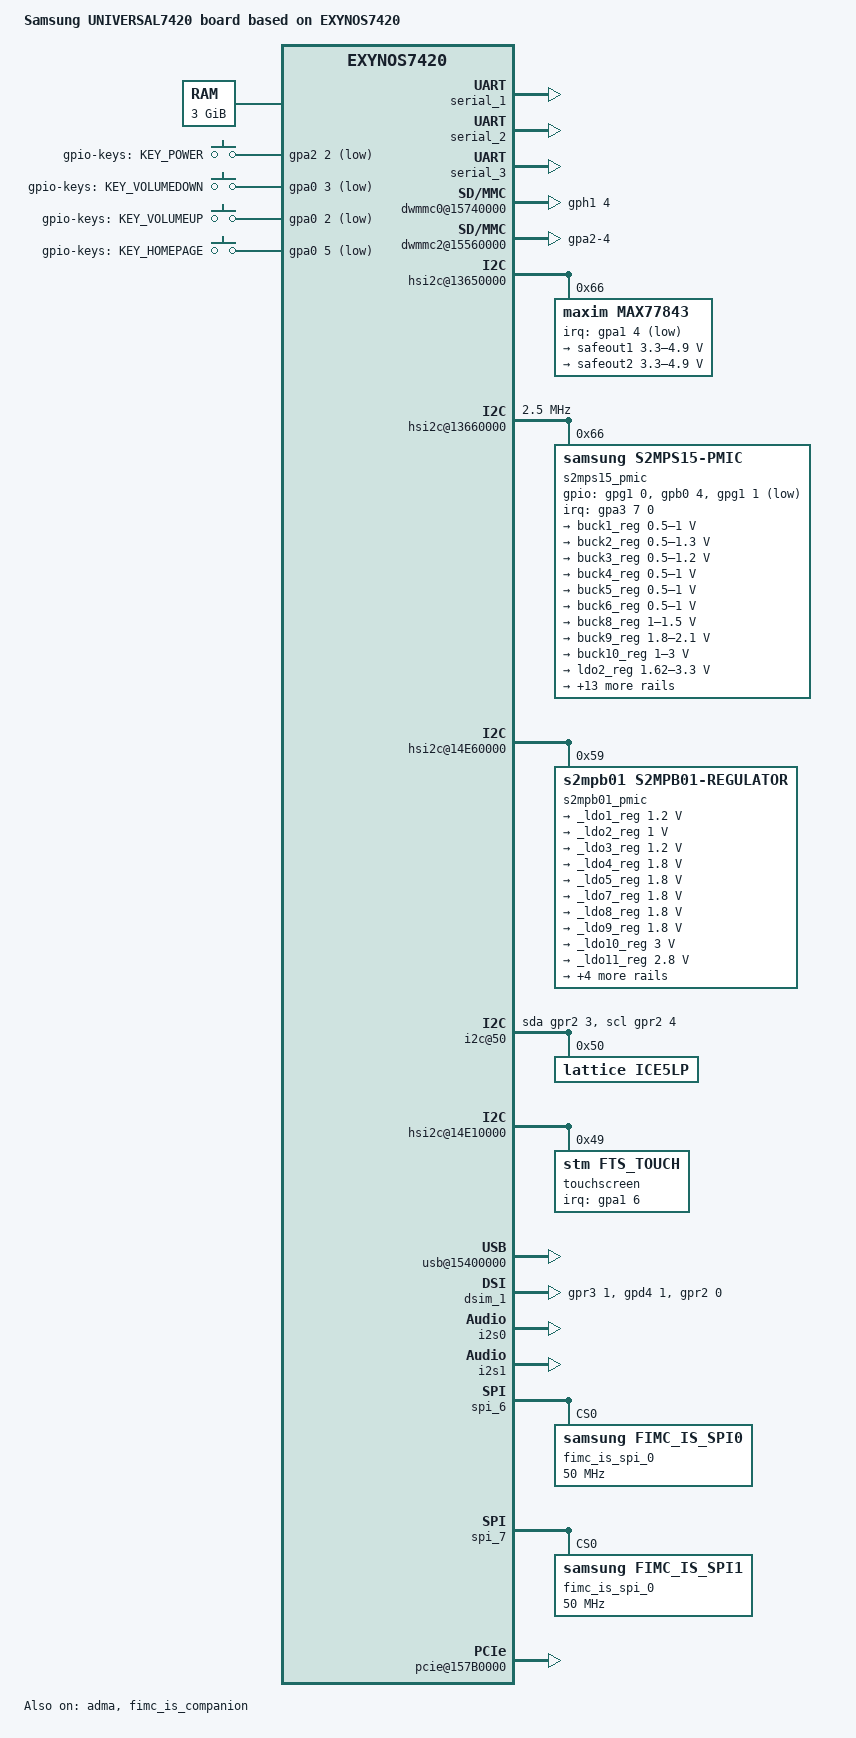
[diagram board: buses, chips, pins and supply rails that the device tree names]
/*
 * SAMSUNG UNIVERSAL7420 board device tree source
 *
 * Copyright (c) 2014 Samsung Electronics Co., Ltd.
 *		http://www.samsung.com
 *
 * This program is free software; you can redistribute it and/or modify
 * it under the terms of the GNU General Public License version 2 as
 * published by the Free Software Foundation.
*/

#include "exynos7420.dtsi"
/ {
	model = "Samsung UNIVERSAL7420 board based on EXYNOS7420";
	compatible = "samsung,exynos7420", "samsung,UNIVERSAL7420";

	memory@40000000 {
		device_type = "memory";
		reg = <0x40000000 0xC0000000>;
	};

	reserved-memory {
		#address-cells = <1>;
		#size-cells = <1>;
		ranges;

		common {
			compatible = "exynos5433-ion,common";
			size = <0x600000>;
			alignment = <0x1000>;
		};

		video {
			compatible = "exynos5433-ion,video";
			size = <0xA800000>;
			alignment = <0x10000>;
		};

		mfc_fw {
			compatible = "exynos5433-ion,mfc_fw";
			size = <0x100000>;
			alignment = <0x10000>;
		};

		mfc_nfw {
			compatible = "exynos5433-ion,mfc_nfw";
			size = <0x100000>;
			alignment = <0x1000>;
		};

		secdma {
			compatible = "exynos5433-ion,secdma";
			size = <0x20000>;
			alignment = <0x10000>;
		};

		mipi_lli_reserved: mipi_lli {
			compatible = "mipi-lli-shmem";
			#memory-region-cells = <0>;
			size = <0x400000>;
			alignment = <0x400000>;
		};
	};

	aliases {
		spi0 = &spi_0;
		spi1 = &spi_1;
		spi2 = &spi_2;
		spi3 = &spi_3;
		spi4 = &spi_4;
		spi5 = &spi_5;
		spi6 = &spi_6;
		spi7 = &spi_7;
		dsim1 = &dsim_1;
	};

	chosen {
		bootargs = "console=ttySAC1,115200n8 ess_setup=0x46000000";
		linux,initrd-start = <0x42000000>;
		linux,initrd-end = <0x420FFFFF>;
	};

	fixed-rate-clocks {
		oscclk {
			compatible = "samsung,exynos7420-oscclk";
			clock-frequency = <24000000>;
		};
	};

	ion {
		compatible = "samsung,exynos5430-ion";

		ion_noncontig_heap {
			id-type = <0 0>;
		};
	};

	serial_1: uart@14C20000 {
		/* Enable UART channel for debug port */
		status = "okay";
	};

	serial_2: uart@14C30000 {
		status = "okay";
	};

	serial_3: uart@14C40000 {
		status = "okay";
	};

	dwmmc0@15740000 {
		status = "okay";
		num-slots = <1>;
		broken-cd;
		bypass-smu;
		fixed_volt;
		biu-clock-gate;
		clock-gate;
		enable-cclk-on-suspend;
		only_once_tune;
		use-fine-tuning;
		bypass-for-allpass;
		supports-highspeed;
		supports-hs200-mode;
		supports-ddr200-mode;
		enable-cache-control;
		use-enable-shift;
		qos_int_level = <468000>;
		desc-size = <3>;
		fifo-depth = <0x40>;
		card-detect-delay = <200>;
		samsung,dw-mshc-ciu-div = <3>;
		samsung,dw-mshc-sdr-timing = <3 0 2 0>;
		samsung,dw-mshc-ddr-timing = <3 0 3 2>;
		samsung,dw-mshc-hs200-timing = <3 0 3 1>;
		samsung,dw-mshc-ddr200-timing = <1 0 2 2>;
		samsung,dw-mshc-ddr200-delay-line = <118>;
		clk_pin = "gpr0-0";
		clk_addr = "15690000.pinctrl";
		clk_val = <0x4>;
		clk_str_num = <6>;
		num-ref-clks = <8>;
		ciu_clkin = <25 50 50 100 200 100 200 400>;
		pinctrl-names = "default";
		pinctrl-0 = <&sd0_clk &sd0_cmd &sd0_rdqs &sd0_bus1 &sd0_bus4 &sd0_bus8>;
		gpios = <&gph1 4 0>;
		slot@0 {
			reg = <0>;
			bus-width = <8>;
		};
	};

	dwmmc2@15560000 {
		status = "okay";
		num-slots = <1>;
		supports-highspeed;
		enable-cclk-on-suspend;
		cd-type = <0>;
		bypass-smu;
		biu-clock-gate;
		clock-gate;
		use-fine-tuning;
		fifo-depth = <0x40>;
		card-detect-delay = <200>;
		qos_int_level = <468000>;
		desc-size = <3>;
		bypass-for-allpass;
		fix-fmp-size-mismatch;
		not-allow-single-dma;
		samsung,dw-mshc-ciu-div = <3>;
		samsung,dw-mshc-sdr-timing = <3 0 3 2>;
		samsung,dw-mshc-ddr-timing = <3 0 2 1>;
		clk_pin = "gpr4-0";
		clk_addr = "10E60000.pinctrl";
		clk_val = <0x2>;
		clk_str_num = <6>;
		num-ref-clks = <8>;
		ciu_clkin = <25 50 50 100 200 100 200 400>;
		pinctrl-names = "default";
		pinctrl-0 = <&sd2_clk &sd2_cmd &sd2_cd &sd2_bus1 &sd2_bus4 &dwmmc2_cd_ext_irq>;
		vdd_vmmc-supply = <&ldo17_reg>;
		vqmmc-supply = <&ldo2_reg>;
		gpio-controller;
		#gpio-cells = <2>;
		cd-gpio = <&gpa2 4 0xf>;

		slot@0 {
			reg = <0>;
			bus-width = <4>;
			disable-wp;
		};
	};

	pinctrl@10580000 {
		dwmmc2_cd_ext_irq: dwmmc2_cd_ext_irq {
			samsung,pins = "gpa2-4";
			samsung,pin-function = <0xf>;
			samsung,pin-pud = <3>;
			samsung,pin-drv = <0>;
		};

		pmic_irq: pmic-irq {
			samsung,pins = "gpa3-7";
			samsung,pin-pud = <3>;
			samsung,pin-drv = <3>;
		};

		chg_irq: chg-irq {
			 samsung,pins = "gpa1-4";
			 samsung,pin-function = <0>;
			 samsung,pin-pud = <3>;
			 samsung,pin-drv = <3>;
		};

	};

	pinctrl@14870000 {
		/* Warm reset information from AP */
		pm_wrsti: pm-wrsti {
			samsung,pins = "gpf3-0";
			samsung,pin-con-pdn = <3>;
		};
	};

	hsi2c@13650000{
		max77843@66 {
			compatible = "maxim,max77843";
			reg = <0x66>;
			pinctrl-names = "default";
			pinctrl-0 = <&chg_irq &vibetonz_pwm>;
			max77843,irq-gpio = <&gpa1 4 1>;
			max77843,wakeup;

			regulators {
				safeout1: ESAFEOUT1 {
					regulator-compatible = "safeout1";
					regulator-name = "safeout1_range";
					regulator-min-microvolt = <3300000>;
					regulator-max-microvolt = <4900000>;
					regulator-boot-on;
				};

				safeout2: ESAFEOUT2 {
					regulator-compatible = "safeout2";
					regulator-name = "safeout2_range";
					regulator-min-microvolt = <3300000>;
					regulator-max-microvolt = <4900000>;
				};
			};
		};
	};

	haptic {
		status = "okay";
		haptic,max_timeout = <10000>;
		haptic,duty = <30500>;
		haptic,period = <33670>;
		haptic,reg2 = <0x82>;
		haptic,pwm_id = <1>;
		haptic,regulator_name = "VCC_3.0V_MOTOR_AP";
	};

	rgb {
		rgb-name = "led_w", "led_r", "led_g", "led_b";
	};

	hsi2c@13650000{
		status = "okay";

		max77843@66 {
			status = "okay";
		};
	};

	muic {
		status = "disabled";
		muic,support-list = "MHL","OTG","Jig USB On","Jig UART Off",
			"Jig UART Off + VB","Jig UART On",
			"TA","USB","CDP","Unofficial",
			"Fuelgauge test";
	};

	hsi2c@13660000 {
		status = "okay";
		samsung,hs-mode;
		clock-frequency = <2500000>;
		samsung,use-apm;

		s2mps15_pmic@66 {
			compatible = "samsung,s2mps15-pmic";
			reg = <0x66>;
			interrupts = <7 0 0>;
			interrupt-parent = <&gpa3>;
			pinctrl-names = "default";
			pinctrl-0 = <&pmic_irq &pm_wrsti>;
			gpios = <&gpg1 0 0>, <&gpb0 4 0x2>, <&gpg1 1 0x1>;
			smpl_warn_en = <0>; /* 1 : enable , 0 : disable*/
			g3d_en = <1>; /* 1 : enable , 0 : disable */
			dvs_en = <0>; /* 1 : enable , 0 : disable */
			buck6en_pin = "gpb0-4";
			buck6en_addr = "13470000.pinctrl";
			/* RTC: wtsr/smpl */
			wtsr_en = <1>; /* enable */
			smpl_en = <1>; /* enable */
			wtsr_timer_val = <3>;	/* 1000ms */
			smpl_timer_val = <4>;	/* 500ms */
			check_jigon = <0>; /* do not check jigon */
			/* RTC: If it's first boot, reset rtc to 1/1/2014 12:00:00(Wed) */
			init_time,sec = <0>;
			init_time,min = <0>;
			init_time,hour = <12>;
			init_time,mday = <1>;
			init_time,mon = <0>;
			init_time,year = <114>;
			init_time,wday = <3>;

			regulators {
				buck1_reg: BUCK1 {
					regulator-name = "vdd_mif";
					regulator-min-microvolt = <500000>;
					regulator-max-microvolt = <1000000>;
					regulator-always-on;
					regulator-boot-on;
					regulator-ramp-delay = <12000>;
					regulator-initial-mode = <1>;
				};

				buck2_reg: BUCK2 {
					regulator-name = "vdd_atlas";
					regulator-min-microvolt = <500000>;
					regulator-max-microvolt = <1300000>;
					regulator-always-on;
					regulator-boot-on;
					regulator-ramp-delay = <12000>;
					regulator-initial-mode = <1>;
				};

				buck3_reg: BUCK3 {
					regulator-name = "vdd_apollo";
					regulator-min-microvolt = <500000>;
					regulator-max-microvolt = <1200000>;
					regulator-always-on;
					regulator-boot-on;
					regulator-ramp-delay = <12000>;
					regulator-initial-mode = <1>;
				};

				buck4_reg: BUCK4 {
					regulator-name = "vdd_int";
					regulator-min-microvolt = <500000>;
					regulator-max-microvolt = <1000000>;
					regulator-always-on;
					regulator-boot-on;
					regulator-ramp-delay = <12000>;
					regulator-initial-mode = <1>;
				};

				buck5_reg: BUCK5 {
					regulator-name = "vdd_disp_cam0";
					regulator-min-microvolt = <500000>;
					regulator-max-microvolt = <1000000>;
					regulator-always-on;
					regulator-boot-on;
					regulator-ramp-delay = <12000>;
					regulator-initial-mode = <1>;
				};

				buck6_reg: BUCK6 {
					regulator-name = "vdd_g3d";
					regulator-min-microvolt = <500000>;
					regulator-max-microvolt = <1000000>;
					regulator-always-on;
					regulator-boot-on;
					regulator-ramp-delay = <12000>;
					regulator-initial-mode = <1>;
				};

				buck8_reg: BUCK8 {
					regulator-name = "vdd_lldo";
					regulator-min-microvolt = <1000000>;
					regulator-max-microvolt = <1500000>;
					regulator-always-on;
					regulator-ramp-delay = <12000>;
					regulator-initial-mode = <3>;
				};

				buck9_reg: BUCK9 {
					regulator-name = "vdd_mldo";
					regulator-min-microvolt = <1800000>;
					regulator-max-microvolt = <2100000>;
					regulator-always-on;
					regulator-ramp-delay = <12000>;
					regulator-initial-mode = <3>;
				};

				buck10_reg: BUCK10 {
					regulator-name = "vdd_lldo2";
					regulator-min-microvolt = <1000000>;
					regulator-max-microvolt = <3000000>;
					regulator-always-on;
					regulator-ramp-delay = <12000>;
					regulator-initial-mode = <1>;
				};

				ldo2_reg: LDO2 {
					regulator-name = "vqmmc";
					regulator-min-microvolt = <1620000>;
					regulator-max-microvolt = <3300000>;
					regulator-ramp-delay = <12000>;
					regulator-initial-mode = <1>;
					regulator-boot-on;
				};

				ldo15_reg: LDO15 {
					regulator-name = "vdd_ldo15";
					regulator-min-microvolt = <1800000>;
					regulator-max-microvolt = <1800000>;
					regulator-always-on;
					regulator-boot-on;
					regulator-initial-mode = <3>;
				};

				ldo16_reg: LDO16 {
					regulator-name = "vdd_ldo16";
					regulator-min-microvolt = <1800000>;
					regulator-max-microvolt = <1800000>;
					regulator-boot-on;
					regulator-initial-mode = <1>;
				};

				ldo17_reg: LDO17 {
					regulator-name = "vmmc";
					regulator-min-microvolt = <2800000>;
					regulator-max-microvolt = <2800000>;
				};

				ldo18_reg: LDO18 {
					regulator-name = "vdd_ldo18";
					regulator-min-microvolt = <1800000>;
					regulator-max-microvolt = <1800000>;
					regulator-always-on;
					regulator-boot-on;
					regulator-initial-mode = <1>;
				};

				ldo19_reg: LDO19 {
					regulator-name = "tsp_avdd";
					regulator-min-microvolt = <3300000>;
					regulator-max-microvolt = <3300000>;
				};

				ldo20_reg: LDO20 {
					regulator-name = "vdd_ldo20";
					regulator-min-microvolt = <1800000>;
					regulator-max-microvolt = <1800000>;
				};

				ldo21_reg: LDO21 {
					regulator-name = "key_led";
					regulator-min-microvolt = <3300000>;
					regulator-max-microvolt = <3300000>;
				};

				ldo22_reg: LDO22 {
					regulator-name = "VSIL_1.0V";
					regulator-min-microvolt = <1000000>;
					regulator-max-microvolt = <1000000>;
				};

				ldo23_reg: LDO23 {
					regulator-name = "vdd_ldo23";
					regulator-min-microvolt = <1800000>;
					regulator-max-microvolt = <1800000>;
					regulator-always-on;
					regulator-boot-on;
					regulator-initial-mode = <1>;		 
				};
				ldo24_reg: LDO24 {
					regulator-name = "tsp_avdd_sub";
					regulator-min-microvolt = <3300000>;
					regulator-max-microvolt = <3300000>;
				};

				ldo25_reg: LDO25 {
					regulator-name = "VCC_3.0V_MOTOR_AP";
					regulator-min-microvolt = <3000000>;
					regulator-max-microvolt = <3000000>;
				};

				ldo26_reg: LDO26 {
					regulator-name = "vdd_ldo26";
					regulator-min-microvolt = <1050000>;
					regulator-max-microvolt = <1050000>;
				};

				ldo27_reg: LDO27 {
					regulator-name = "tsp_io";
					regulator-min-microvolt = <1800000>;
					regulator-max-microvolt = <1800000>;
				};
			};
		};
	};

	hsi2c@14E60000 {
		status = "okay";

		s2mpb01_pmic@59 {
			compatible = "s2mpb01,s2mpb01-regulator";
			reg = <0x59>;

			regulators {
				_ldo1_reg: LDO1 {
					regulator-name = "VDDD_1.2V_CAM";
					regulator-min-microvolt = <1200000>;
					regulator-max-microvolt = <1200000>;
				};

				_ldo2_reg: LDO2 {
					regulator-name = "VDDD_MIPI_1.0V_COMP";
					regulator-min-microvolt = <1000000>;
					regulator-max-microvolt = <1000000>;
				};

				_ldo3_reg: LDO3 {
					regulator-name = "VDDD_1.2V_VT";
					regulator-min-microvolt = <1200000>;
					regulator-max-microvolt = <1200000>;
				};

				_ldo4_reg: LDO4 {
					regulator-name = "tsp_io_en";
					regulator-min-microvolt = <1800000>;
					regulator-max-microvolt = <1800000>;
				};

				_ldo5_reg: LDO5 {
					regulator-name = "VDDIO_1.8V_VT";
					regulator-min-microvolt = <1800000>;
					regulator-max-microvolt = <1800000>;
				};

				_ldo7_reg: LDO7 {
					regulator-name = "tsp_io_en_sub";
					regulator-min-microvolt = <1800000>;
					regulator-max-microvolt = <1800000>;
				};

				_ldo8_reg: LDO8 {
					regulator-name = "VDDIO_1.8V_CAM";
					regulator-min-microvolt = <1800000>;
					regulator-max-microvolt = <1800000>;
				};

				_ldo9_reg: LDO9 {
					regulator-name = "VDDA_1.8V_COMP";
					regulator-min-microvolt = <1800000>;
					regulator-max-microvolt = <1800000>;
				};

				_ldo10_reg: LDO10 {
					regulator-name = "VDDA_3.0V_VT";
					regulator-min-microvolt = <3000000>;
					regulator-max-microvolt = <3000000>;
				};

				_ldo11_reg: LDO11 {
					regulator-name = "VDDA_2.8V_CAM";
					regulator-min-microvolt = <2800000>;
					regulator-max-microvolt = <2800000>;
				};

				_ldo12_reg: LDO12 {
					regulator-name = "GES_LED_3.3V";
					regulator-min-microvolt = <3300000>;
					regulator-max-microvolt = <3300000>;
				};

				_ldo13_reg: LDO13 {
					regulator-name = "OIS_VM_2.8V";
					regulator-min-microvolt = <2800000>;
					regulator-max-microvolt = <2800000>;
				};

				_ldo14_reg: LDO14 {
					regulator-name = "VDDAF_2.8V_CAM";
					regulator-min-microvolt = <2800000>;
					regulator-max-microvolt = <2800000>;
				};

				_ldo15_reg: LDO15 {
					regulator-name = "OIS_VDD_2.8V";
					regulator-min-microvolt = <2800000>;
					regulator-max-microvolt = <2800000>;
				};
			};
		};
	};

	i2c@50 {
		compatible = "i2c-gpio";
		gpios = <&gpr2 3 0 /* sda */
			&gpr2 4 0 /* scl */
			>;
		i2c-gpio,delay-us = <2>;
		#address-cells = <1>;
		#size-cells = <0>;
		status = "okay";
		ice5lp@50 {
			compatible = "lattice,ice5lp";
			reg = <0x50>;
			ice5lp,creset_b = <&gpr2 1 0>;
			ice5lp,cdone = <&gpf5 6 0>;
			ice5lp,irda_irq = <&gpr2 2 0>;
			ice5lp,spi_si_sda = <&gpr2 3 0>;
			ice5lp,spi_clk_scl = <&gpr2 4 0>;
			ice5lp,spi_en_rstn = <&gpr2 0 0>;
			irled,power_type = "LDO";
			irled,ldo = <&gpf1 2 0>;
			clocks = <&clock 4300>;
			clock-names = "clk_out";
		};
	};

	pinctrl@10580000 {
		gpa2_pull_up: gpa2_pull_up {
			samsung,pins = "gpa2-2";
			samsung,pin-function = <0xf>;
			samsung,pin-pud = <3>;
			samsung,pin-drv = <0>;
		};
		attn_irq: attn-irq {
			samsung,pins = "gpa1-6";
			samsung,pin-function = <0xf>;
			samsung,pin-pud = <0>;
			samsung,pin-drv = <0>;
		};
		attn_input: attn-input {
			samsung,pins = "gpa1-6";
			samsung,pin-function = <0>;
			samsung,pin-pud = <1>;
			samsung,pin-drv = <0>;
		};
	};

	gpio_keys {
		compatible = "gpio-keys";
		#address-cells = <1>;
		#size-cells = <0>;
		pinctrl-names = "default";
		pinctrl-0 = <&gpa2_pull_up>;
		button@1 {
			label = "gpio-keys: KEY_POWER";
			interrupts = <2 0 0>;
			interrupt-parent = <&gpa2>;
			linux,code = <116>;
			gpios = <&gpa2 2 0xf>;
			gpio-key,wakeup = <1>;
		};
		button@2 {
			label = "gpio-keys: KEY_VOLUMEDOWN";
			interrupts = <3 0 0>;
			interrupt-parent = <&gpa0>;
			linux,code = <114>;
			gpios = <&gpa0 3 0xf>;
		};
		button@3 {
			label = "gpio-keys: KEY_VOLUMEUP";
			interrupts = <2 0 0>;
			interrupt-parent = <&gpa0>;
			linux,code = <115>;
			gpios = <&gpa0 2 0xf>;
		};
		button@4 {
			label = "gpio-keys: KEY_HOMEPAGE";
			interrupts = <5 0 0>;
			interrupt-parent = <&gpa0>;
			linux,code = <172>;
			gpios = <&gpa0 5 0xf>;
			gpio-key,wakeup = <1>;
		};
	};

	pinctrl@14CE0000 {
		hs_i2c7_bus: hs-i2c7-bus {
			samsung,pins = "gpj1-1", "gpj1-0";
			samsung,pin-pud = <0>;
			samsung,pin-drv = <0>;
			samsung,pin-con-pdn = <2>;
			samsung,pin-pud-pdn = <1>;
		};
	};

	hsi2c@14E10000 {
		status = "okay";
		touchscreen@20 {
			compatible = "stm,fts_touch";
			reg = <0x49>;
			pinctrl-names = "on_state", "off_state";
			pinctrl-0 = <&attn_irq>;
			pinctrl-1 = <&attn_input>;
			stm,irq_gpio = <&gpa1 6 0>;
			stm,irq_type = <8200>;
			stm,max_coords = <1599 2559>;	/* x y */
			stm,num_lines = <25 16>;		/* rx tx */
			stm,regulator_dvdd = "tsp_io";
			stm,regulator_avdd = "tsp_avdd";
			stm,num_touchkey = <2>;
			stm,regulator_tk_led = "key_led";
		};
	};

	usb@15400000 {
		status = "okay";

		dwc3 {
			maximum-speed = "high-speed";
			dr_mode = "otg";
		};
	};

	ipa_pdata {
		compatible = "samsung,exynos-ipa";

		control_temp = <90>;
		temp_threshold = <30>;
		enabled = <1>;
		tdp = <3500>;
		boost = <1>;
		ros_power = <500>;
		little_weight = <1024>;
		big_weight = <256>;
		gpu_weight = <256>;
		little_max_power = <1000>;
		big_max_power = <6552>;
		gpu_max_power = <3110>;
		hotplug_out_threshold = <10>;
		hotplug_in_threshold = <0>;
		enable_ctlr = <1>;
		ctlr.mult = <2>;
		ctlr.k_i = <1>;
		ctlr.k_d = <0>;
		ctlr.feed_forward = <1>;
		ctlr.integral_reset_value = <0>;
		ctlr.integral_cutoff = <0>;
		ctlr.integral_reset_threshold = <10>;
	};

	decon_0: decon_fb {
		/* EINT for TE */
		gpios = <&gpg1 2 0xf>;
		dsi_mode = <2>;
	};

	decon_1: decon_ext {
		/* EINT for TE */
		gpios = <&gpg1 3 0xf>;
		dsi_mode = <2>;
	};

	dsim_0: dsim@0x13900000 {
		lcd_info = <&s6e3fa2>;
		/* MCD_RST, LCD_3.0V_EN, LCD_1.5V_EN */
		gpios = <&gpr3 0 0x1>, <&gpf3 2 0x1>, <&gpf4 3 0x1>;
	};

	dsim_1: dsim@0x13910000 {
		compatible = "samsung,exynos5-mipi-dsi";
		reg = <0x13910000 0x1000>;
		samsung,power-domain = <&pd_disp>;
		interrupts = <0 197 0>;

		clocks = <&clock 222>, <&clock 236>, <&clock 237>,
		       <&clock 235>,
		       <&clock 233>;

		clock-names = "pclk_dsim1", "mipi1_rx", "mipi1_bit",
			/* rgb data from decon-int to dsim */
			"rgb_vclk1",
			/* pclk_ahb2apb_disp0p -> pclk_cp_disp */
			"pclk_disp";

		pinctrl-names = "turnon_tes", "turnoff_tes";
		pinctrl-0 = <&disp1_teson>;
		pinctrl-1 = <&disp1_tesoff>;

		/* number of using data lane */
		data_lane_cnt = <4>;
	
		lcd_info = <&s6e3fa2>;
	
		/* SUB_MLCD_RST, SUB_LCD_3.0V_EN, SUB_LCD_1.5V_EN */
		gpios = <&gpr3 1 0x1>, <&gpd4 1 0x1>, <&gpr2 0 0x1>;
	
	};


	s6e3hf2: s6e3hf2_wqxga {
		mode = <2>;		/* 0: video mode, 1: DP command mode, 2: MIPI command mode */
		resolution = <1600 2560>;
		size = <70 121>;
		timing,refresh = <60>;
		timing,h-porch = <1 1 1>;
		timing,v-porch = <20 1 1>;
		timing,dsi-hs-clk = <1100>;
		timing,dsi-escape-clk = <20>;
		mic = <1>;		/* 0: mic disable, 1: mic enable */
		mic_ver = <2>;		/* 0: mic v1.1, 1: v1.2, 2: v2.0 */
		type_of_ddi = <0>;	/* 0: Samsung Mobile, 1: MAGNA, 2: Normal(Etc) */
	};

	s6e3fa2: s6e3fa2_fhd {
		mode = <2>;
		resolution = <1080 1920>;
		size = <65 115>;
		timing,refresh = <60>;
		timing,h-porch = <10 10 10>;
		timing,v-porch = <3 4 1>;
		timing,dsi-hs-clk = <896>;
		timing,dsi-escape-clk=<19>;
		mic = <0>;
		mic_ver=<2>;
		type_of_ddi=<0>;
	};
	hdmi@13970000 {
		/* all bit clock supports: 1, not support: 0 */
		audio_master_clk = <1>;
		gpios = <&gpa3 0 0xf>;
	};

	i2s0: i2s@11440000 {
		/*samsung,supports-esa-dma;*/
		/*samsung,supports-sec-compr;*/
		status = "okay";
	};

	i2s1: i2s@14D60000 {
		status = "okay";
	};

	audio_codec_dummy: dummy-codec {
		compatible = "samsung,dummy-codec";
		status = "okay";
	};

	i2s_dummy: dummy-i2s {
		compatible = "samsung,dummy-i2s";
		status = "okay";
	};

	sound {
		compatible = "samsung,zero-arizona";
		samsung,audio-cpu = <&i2s0	/* primary */
				     &i2s_dummy
				     &i2s_dummy
				     &i2s0			/* secondary */
				     &i2s_dummy		/* voice wakeup */
				     &i2s_dummy		/* dsp trace */
				     &eax			/* eax0 ~ 3 */
				     &eax
				     &eax
				     &eax>;
		samsung,audio-codec = <&audio_codec
				       &audio_codec
				       &audio_codec
				       &audio_codec
				       &audio_codec_dummy
				       &audio_codec_dummy
				       &audio_codec
				       &audio_codec
				       &audio_codec
				       &audio_codec>;
		status = "okay";
	};

	hdmi {
		compatible = "samsung,zero-hdmi";
		samsung,audio-cpu = <&i2s1>;
		samsung,audio-codec = <&audio_codec_dummy>;
		status = "okay";
	};

	amba {
		adma: adma@11420000 {
			compatible = "arm,pl330", "arm,primecell";
			reg = <0x11420000 0x1000>;
			interrupts = <0 97 0>;
			clocks = <&clock 400>;
			clock-names = "apb_pclk";
			#dma-cells = <1>;
			#dma-channels = <8>;
			#dma-requests = <16>;
			#dma-mcode-addr = <0x03047000>;
			samsung,lpass-subip;
			status = "ok";
		};
	};

	spi_6: spi@14390000 {
		/*clocks = <&clock 2626>, <&clock 4083>;*/ /* Workaround for SPI read in A5 */
		/* clock-names = "spi", "spi_busclk0";*/   /* Must be removed later */
		#address-cells = <1>;
		#size-cells = <0>;

		num-cs = <1>;

		fimc_is_spi_0@0 {
			compatible = "samsung,fimc_is_spi0";
			fimc_is_spi_clk = "gpc3-0";
			fimc_is_spi_ssn = "gpc3-1";
			fimc_is_spi_miso = "gpc3-2";
			fimc_is_spi_mosi = "gpc3-3";
			spi-max-frequency = <50000000>;
			reg = <0x0>;

			controller-data {
				cs-gpio = <&gpc0 6 0>;
				samsung,spi-feedback-delay = <0>;
			};
		};
	};

	spi_7: spi@143A0000 {
		/*clocks = <&clock 2626>, <&clock 4083>;*/ /* Workaround for SPI read in A5 */
		/* clock-names = "spi", "spi_busclk0";*/   /* Must be removed later */
		#address-cells = <1>;
		#size-cells = <0>;

		num-cs = <1>;

		fimc_is_spi_0@0 {
			compatible = "samsung,fimc_is_spi1";
			fimc_is_spi_clk = "gpc3-4";
			fimc_is_spi_ssn = "gpc3-5";
			fimc_is_spi_miso = "gpc3-6";
			fimc_is_spi_mosi = "gpc3-7";
			spi-max-frequency = <50000000>;
			reg = <0x0>;
			/*pinctrl-names = "default";
			pinctrl-0 = <&fimc_is_comp_int>;*/

			controller-data {
				cs-gpio = <&gpc3 5 0>;
				samsung,spi-feedback-delay = <0>;
			};
		};
	};

	/* Companion driver */
	fimc_is_companion: fimc_is_companion@14020000 {
		compatible = "samsung,exynos5-fimc-is-companion";
		samsung,power-domain = <&pd_cam1>;
		clock-names =
			/* SENSOR0 MCLK */
			"sclk_isp_sensor0",				/* 16 */
			"dout_sclk_isp_sensor0",		/* 20 */
			"mout_sclk_isp_sensor0",		/* 23 */

			/* SPI-ISP */
			"gate_isp_spi1",                /* 2625 */
			"gate_isp_spi0",                /* 2626 */
			"dout_sclk_isp_spi0",			/* 2030 */
			"dout_sclk_isp_spi1",			/* 2031 */
			"mout_user_mux_sclk_isp_spi0",	/* 3296 */
			"mout_user_mux_sclk_isp_spi1",	/* 3297 */

			"dout_clkdiv_pclk_cam1_busperi_167",	/* 3317 */
			"dout_clkdiv_pclk_cam1_busperi_84", 	/* 3318 */
			"mout_user_mux_aclk_cam1_busperi_334",	/* 3292 */
			"mout_user_mux_aclk_cam1_bnscsis_133",	/* 3293 */

			/* CMU TOP */
			"dout_aclk_cam1_333",           /* 4047 */

			/* USER_MUX_SEL */
			"aclk_cam1_333",                /* 342 */
			"mout_aclk_cam1_333_user";		/* 3225 */
		clocks =
			/* SENSOR0 MCLK */
			<&clock 16>,
			<&clock 20>,
			<&clock 23>,

			/* SPI-ISP */
			<&clock 2625>,
			<&clock 2626>,
			<&clock 2030>,
			<&clock 2031>,
			<&clock 3296>,
			<&clock 3297>,

			<&clock 3317>,
			<&clock 3318>,
			<&clock 3292>,
			<&clock 3293>,

			/* CMU TOP */
			<&clock 4047>,

			/* USER_MUX_SEL */
			<&clock 342>,
			<&clock 3225>;
		scenario = <0>;
		mclk_ch = <0>;
		spi_ch = <1>;
		gpio_reset = <&gpc0 1 0x1>; /* sensor reset */
		gpio_comp_reset = <&gpc0 6 0x1>; /* companion reset */
		status = "okay";
	};

	fimc_is_sensor0: fimc_is_sensor@14020000 {
		scenario = <0>;
		gpio_reset = <&gpc0 1 0x1>;
		id = <0>;
		mclk_ch = <0>;
		csi_ch = <0>;
		flite_ch = <0>;
		i2c_ch = <0x0200>;
		i2c_addr = <0x3434>;
		flash_first_gpio = <2>;
		flash_second_gpio = <3>;
		is_bns = <1>;
		status = "okay";
	};

	fimc_is_sensor1: fimc_is_sensor@14030000 {
		scenario = <0>;
		gpio_reset = <&gpc0 4 0x1>;
		gpio_standby = <&gpc0 0 0x1>;
		id = <1>;
		mclk_ch = <2>;
		csi_ch = <1>;
		flite_ch = <1>;
		i2c_ch = <1>;
		i2c_addr = <0x6A>;
		is_bns = <0>;
		status = "okay";
	};

	fimc_is_sensor2: fimc_is_sensor@14110000 {
		scenario = <0>;
		gpio_reset = <&gpc0 1 0x1>;
		id = <2>;
		mclk_ch = <2>;
		csi_ch = <2>;
		flite_ch = <2>;
		i2c_ch = <0x0000>;
		i2c_addr = <0x0000>;
		flash_first_gpio = <0>;
		flash_second_gpio = <0>;
		is_bns = <1>;
		status = "okay";
	};

	fimc_is_sensor3: fimc_is_sensor@14040000 {
		scenario = <0>;
		gpio_reset = <&gpc0 4 0x1>;
		gpio_standby = <&gpc0 0 0x1>;
		id = <3>;
		mclk_ch = <3>;
		csi_ch = <3>;
		flite_ch = <3>;
		i2c_ch = <0x0000>;
		i2c_addr = <0x0000>;
		is_bns = <0>;
		status = "okay";
};

	fimc_is@14200000 {
		pinctrl-names = "default", "pin0", "pin1", "pin2";
		pinctrl-0 = <&fimc_is_mclk0_in &fimc_is_mclk1_in &fimc_is_mclk2_in>;
		pinctrl-1 = <&fimc_is_mclk0_fn>; /* companion */
		pinctrl-2 = <&fimc_is_i2c0 &fimc_is_i2c2 &fimc_is_mclk0_fn &fimc_is_flash>; /* main */
		pinctrl-3 = <&fimc_is_i2c1 &fimc_is_mclk2_fn>; /* front */

		#define DVFS_INT_L0 690000
		#define DVFS_INT_L1 680000
		#define DVFS_INT_L2 670000
		#define DVFS_INT_L3 660000
		#define DVFS_INT_L4 650000
		#define DVFS_INT_L5 640000
		#define DVFS_INT_L6 630000
		#define DVFS_INT_L7 620000
		#define DVFS_INT_L8 610000
		#define DVFS_INT_L9 600000

		#define DVFS_CAM_L0 590000
		#define DVFS_CAM_L1 580000
		#define DVFS_CAM_L2 570000
		#define DVFS_CAM_L3 560000
		#define DVFS_CAM_L4 550000
		#define DVFS_CAM_L5 540000
		#define DVFS_CAM_L6 530000
		#define DVFS_CAM_L7 520000
		#define DVFS_CAM_L8 510000
		#define DVFS_CAM_L9 500000

		#define DVFS_MIF_L0 1552000
		#define DVFS_MIF_L1 1456000
		#define DVFS_MIF_L2 1264000
		#define DVFS_MIF_L3 1068000
		#define DVFS_MIF_L4 828000
		#define DVFS_MIF_L5 632000

		fimc_is_dvfs {
			default_int = <DVFS_INT_L1>;
			default_cam = <DVFS_CAM_L3>;
			default_mif = <DVFS_MIF_L5>;
			default_i2c = <0>;

			front_preview_int = <DVFS_INT_L4>;
			front_preview_cam = <DVFS_CAM_L8>;
			front_preview_mif = <DVFS_MIF_L5>;
			front_preview_i2c = <0>;

			front_capture_int = <DVFS_INT_L4>;
			front_capture_cam = <DVFS_CAM_L8>;
			front_capture_mif = <DVFS_MIF_L5>;
			front_capture_i2c = <0>;

			front_video_int = <DVFS_INT_L8>;
			front_video_cam = <DVFS_CAM_L7>;
			front_video_mif = <DVFS_MIF_L5>;
			front_video_i2c = <0>;

			front_video_whd_int = <DVFS_INT_L5>;
			front_video_whd_cam = <DVFS_CAM_L7>;
			front_video_whd_mif = <DVFS_MIF_L5>;
			front_video_whd_i2c = <0>;

			front_video_capture_int = <DVFS_INT_L8>;
			front_video_capture_cam = <DVFS_CAM_L7>;
			front_video_capture_mif = <DVFS_MIF_L5>;
			front_video_capture_i2c = <0>;

			front_video_whd_capture_int = <DVFS_INT_L5>;
			front_video_whd_capture_cam = <DVFS_CAM_L7>;
			front_video_whd_capture_mif = <DVFS_MIF_L5>;
			front_video_whd_capture_i2c = <0>;

			front_vt1_int = <DVFS_INT_L4>;
			front_vt1_cam = <DVFS_CAM_L8>;
			front_vt1_mif = <DVFS_MIF_L5>;
			front_vt1_i2c = <0>;

			front_vt2_int = <DVFS_INT_L4>;
			front_vt2_cam = <DVFS_CAM_L8>;
			front_vt2_mif = <DVFS_MIF_L5>;
			front_vt2_i2c = <0>;

			rear_preview_fhd_int = <DVFS_INT_L3>;
			rear_preview_fhd_cam = <DVFS_CAM_L3>;
			rear_preview_fhd_mif = <DVFS_MIF_L5>;
			rear_preview_fhd_i2c = <0>;

			rear_preview_whd_int = <DVFS_INT_L3>;
			rear_preview_whd_cam = <DVFS_CAM_L3>;
			rear_preview_whd_mif = <DVFS_MIF_L5>;
			rear_preview_whd_i2c = <0>;

			rear_preview_uhd_int = <DVFS_INT_L3>;
			rear_preview_uhd_cam = <DVFS_CAM_L3>;
			rear_preview_uhd_mif = <DVFS_MIF_L5>;
			rear_preview_uhd_i2c = <0>;

			rear_capture_int = <DVFS_INT_L3>;
			rear_capture_cam = <DVFS_CAM_L3>;
			rear_capture_mif = <DVFS_MIF_L5>;
			rear_capture_i2c = <0>;

			rear_video_fhd_int = <DVFS_INT_L7>;
			rear_video_fhd_cam = <DVFS_CAM_L2>;
			rear_video_fhd_mif = <DVFS_MIF_L5>;
			rear_video_fhd_i2c = <0>;

			rear_video_uhd_int = <DVFS_INT_L1>;
			rear_video_uhd_cam = <DVFS_CAM_L1>;
			rear_video_uhd_mif = <DVFS_MIF_L5>;
			rear_video_uhd_i2c = <0>;

			rear_video_fhd_capture_int = <DVFS_INT_L7>;
			rear_video_fhd_capture_cam = <DVFS_CAM_L2>;
			rear_video_fhd_capture_mif = <DVFS_MIF_L5>;
			rear_video_fhd_capture_i2c = <0>;

			rear_video_uhd_capture_int = <DVFS_INT_L1>;
			rear_video_uhd_capture_cam = <DVFS_CAM_L1>;
			rear_video_uhd_capture_mif = <DVFS_MIF_L5>;
			rear_video_uhd_capture_i2c = <0>;

			dual_preview_int = <DVFS_INT_L6>;
			dual_preview_cam = <DVFS_CAM_L4>;
			dual_preview_mif = <DVFS_MIF_L5>;
			dual_preview_i2c = <0>;

			dual_capture_int = <DVFS_INT_L6>;
			dual_capture_cam = <DVFS_CAM_L4>;
			dual_capture_mif = <DVFS_MIF_L5>;
			dual_capture_i2c = <0>;

			dual_video_int = <DVFS_INT_L9>;
			dual_video_cam = <DVFS_CAM_L5>;
			dual_video_mif = <DVFS_MIF_L5>;
			dual_video_i2c = <0>;

			dual_video_capture_int = <DVFS_INT_L9>;
			dual_video_capture_cam = <DVFS_CAM_L5>;
			dual_video_capture_mif = <DVFS_MIF_L5>;
			dual_video_capture_i2c = <0>;

			high_speed_fps_int = <DVFS_INT_L2>;
			high_speed_fps_cam = <DVFS_CAM_L6>;
			high_speed_fps_mif = <DVFS_MIF_L5>;
			high_speed_fps_i2c = <0>;

			max_int = <DVFS_INT_L0>;
			max_cam = <DVFS_CAM_L0>;
			max_mif = <DVFS_MIF_L5>;
			max_i2c = <0>;
		};
	};

	pcie@157B0000 {
		status = "okay";
	};

	mipi-lli@10F24000 {
		status = "okay";
		memory-region = <&mipi_lli_reserved>;
		modem-name = "ss303";
		modems {
			ss300 {
				/* disable scrambler */
				scrambler = <0>;
				/* do not control automode by AP */
				automode = <0>;
			};

			ss303 {
				/* disable scrambler */
				scrambler = <0>;
				/* do not control automode by AP */
				automode = <0>;
			};

			xmm7260 {
				/* disable scrambler */
				scrambler = <0>;
				/* do not control automode by AP */
				automode = <0>;
			};
		};

		mphy {
			modem-name = "ss303";
			modems {
				ss300 {
					/* initial-gear is HS-G1 */
					init-gear = <2 1 1>;
					/* use shared reference clock for MPHY */
					shd-refclk = <1>;
				};

				ss303 {
					/* initial-gear is HS-G1 */
					init-gear = <2 1 1>;
					/* use shared reference clock for MPHY */
					shd-refclk = <1>;
				};

				xmm7260 {
					/* initial-gear is HS-G1 */
					init-gear = <2 1 1>;
					/* use shared reference clock for MPHY */
					shd-refclk = <1>;
				};
			};
		};
	};
};
